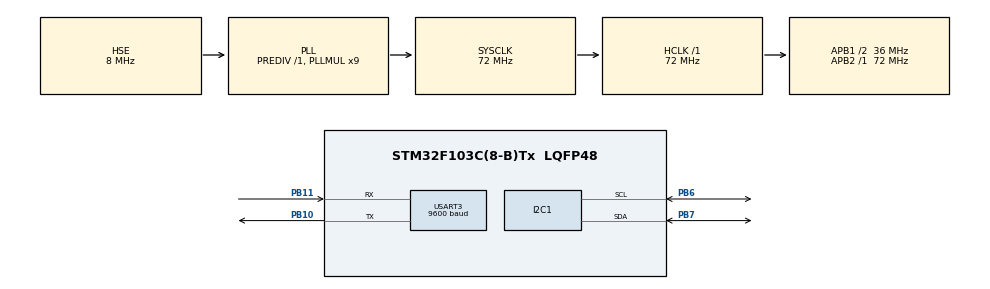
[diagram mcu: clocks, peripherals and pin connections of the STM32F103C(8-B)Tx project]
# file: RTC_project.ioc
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Mcu.Family=STM32F1
Mcu.Name=STM32F103C(8-B)Tx
Mcu.Package=LQFP48
NVIC.PriorityGroup=NVIC_PRIORITYGROUP_4
PA13.Mode=Serial_Wire
PA13.Signal=SYS_JTMS-SWDIO
PA14.Mode=Serial_Wire
PA14.Signal=SYS_JTCK-SWCLK
PB10.Mode=Asynchronous
PB10.Signal=USART3_TX
PB11.Mode=Asynchronous
PB11.Signal=USART3_RX
PB6.Mode=I2C
PB6.Signal=I2C1_SCL
PB7.Mode=I2C
PB7.Signal=I2C1_SDA
PC14-OSC32_IN.Mode=LSE-External-Oscillator
PC14-OSC32_IN.Signal=RCC_OSC32_IN
PC15-OSC32_OUT.Mode=LSE-External-Oscillator
PC15-OSC32_OUT.Signal=RCC_OSC32_OUT
PD0-OSC_IN.Mode=HSE-External-Oscillator
PD0-OSC_IN.Signal=RCC_OSC_IN
PD1-OSC_OUT.Mode=HSE-External-Oscillator
PD1-OSC_OUT.Signal=RCC_OSC_OUT
ProjectManager.HeapSize=0x200
ProjectManager.StackSize=0x400
ProjectManager.TargetToolchain=STM32CubeIDE
RCC.AHBFreq_Value=72000000
RCC.APB1CLKDivider=RCC_HCLK_DIV2
RCC.APB1Freq_Value=36000000
RCC.APB1TimFreq_Value=72000000
RCC.APB2Freq_Value=72000000
RCC.APB2TimFreq_Value=72000000
RCC.HCLKFreq_Value=72000000
RCC.PLLMUL=RCC_PLL_MUL9
RCC.PLLSourceVirtual=RCC_PLLSOURCE_HSE
RCC.RTCClockSelection=RCC_RTCCLKSOURCE_LSE
RCC.SYSCLKFreq_VALUE=72000000
RCC.SYSCLKSource=RCC_SYSCLKSOURCE_PLLCLK
RCC.USBFreq_Value=72000000
RTC.AutoPrediv=RTC_AUTO_1_SECOND
USART3.BaudRate=9600
USART3.VirtualMode=VM_ASYNC
VP_RTC_VS_RTC_Activate.Mode=RTC_Enabled
board=custom

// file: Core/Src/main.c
/* USER CODE BEGIN Header */
/**
  ******************************************************************************
  * @file           : main.c
  * @brief          : Main program body
  ******************************************************************************
  * @attention
  *
  * Copyright (c) 2026 STMicroelectronics.
  * All rights reserved.
  *
  * This software is licensed under terms that can be found in the LICENSE file
  * in the root directory of this software component.
  * If no LICENSE file comes with this software, it is provided AS-IS.
  *
  ******************************************************************************
  */
/* USER CODE END Header */
#include "main.h"
#include "i2c.h"
#include "rtc.h"
#include "usart.h"
#include "gpio.h"

/* USER CODE BEGIN Includes */
#include "zj_RTC.h"
#include <stdio.h>
#include <string.h>
#include "oled.h"
#include "time.h"
/* USER CODE END Includes */

void SystemClock_Config(void);

int main(void)
{

  /* MCU Configuration--------------------------------------------------------*/

  /* Reset of all peripherals, Initializes the Flash interface and the Systick. */
  HAL_Init();

  /* Configure the system clock */
  SystemClock_Config();

  /* Initialize all configured peripherals */
  MX_GPIO_Init();
  MX_RTC_Init();
  MX_USART3_UART_Init();
  MX_I2C1_Init();
  /* USER CODE BEGIN 2 */
  HAL_Delay(20);
  SSD1306_Init();
  HAL_Delay(20);
  char message[100] = "";
  struct tm* now;
  /* USER CODE END 2 */

  /* Infinite loop */
  /* USER CODE BEGIN WHILE */
  while (1)
  {
   SSD1306_Clear();

   now = zj_RTC_GetTime();
   sprintf(message, "%d-%d-%d %02d:%02d:%02d\r\n", now->tm_year + 1900, now->tm_mon + 1, now->tm_mday, now->tm_hour, now->tm_min, now->tm_sec);
   SSD1306_SetCursor(2, 2);
   SSD1306_WriteString(message);

   SSD1306_UpdateScreen();
   HAL_Delay(1000);
    /* USER CODE END WHILE */

  }
}

void SystemClock_Config(void)
{
  RCC_OscInitTypeDef RCC_OscInitStruct = {0};
  RCC_ClkInitTypeDef RCC_ClkInitStruct = {0};
  RCC_PeriphCLKInitTypeDef PeriphClkInit = {0};

  /** Initializes the RCC Oscillators according to the specified parameters
  * in the RCC_OscInitTypeDef structure.
  */
  RCC_OscInitStruct.OscillatorType = RCC_OSCILLATORTYPE_HSE|RCC_OSCILLATORTYPE_LSE;
  RCC_OscInitStruct.HSEState = RCC_HSE_ON;
  RCC_OscInitStruct.HSEPredivValue = RCC_HSE_PREDIV_DIV1;
  RCC_OscInitStruct.LSEState = RCC_LSE_ON;
  RCC_OscInitStruct.HSIState = RCC_HSI_ON;
  RCC_OscInitStruct.PLL.PLLState = RCC_PLL_ON;
  RCC_OscInitStruct.PLL.PLLSource = RCC_PLLSOURCE_HSE;
  RCC_OscInitStruct.PLL.PLLMUL = RCC_PLL_MUL9;
  if (HAL_RCC_OscConfig(&RCC_OscInitStruct) != HAL_OK)
  {
    Error_Handler();
  }

  /** Initializes the CPU, AHB and APB buses clocks
  */
  RCC_ClkInitStruct.ClockType = RCC_CLOCKTYPE_HCLK|RCC_CLOCKTYPE_SYSCLK
                              |RCC_CLOCKTYPE_PCLK1|RCC_CLOCKTYPE_PCLK2;
  RCC_ClkInitStruct.SYSCLKSource = RCC_SYSCLKSOURCE_PLLCLK;
  RCC_ClkInitStruct.AHBCLKDivider = RCC_SYSCLK_DIV1;
  RCC_ClkInitStruct.APB1CLKDivider = RCC_HCLK_DIV2;
  RCC_ClkInitStruct.APB2CLKDivider = RCC_HCLK_DIV1;

  if (HAL_RCC_ClockConfig(&RCC_ClkInitStruct, FLASH_LATENCY_2) != HAL_OK)
  {
    Error_Handler();
  }
  PeriphClkInit.PeriphClockSelection = RCC_PERIPHCLK_RTC;
  PeriphClkInit.RTCClockSelection = RCC_RTCCLKSOURCE_LSE;
  if (HAL_RCCEx_PeriphCLKConfig(&PeriphClkInit) != HAL_OK)
  {
    Error_Handler();
  }
}

void Error_Handler(void)
{
  __disable_irq();
  while (1)
  {
  }
}
